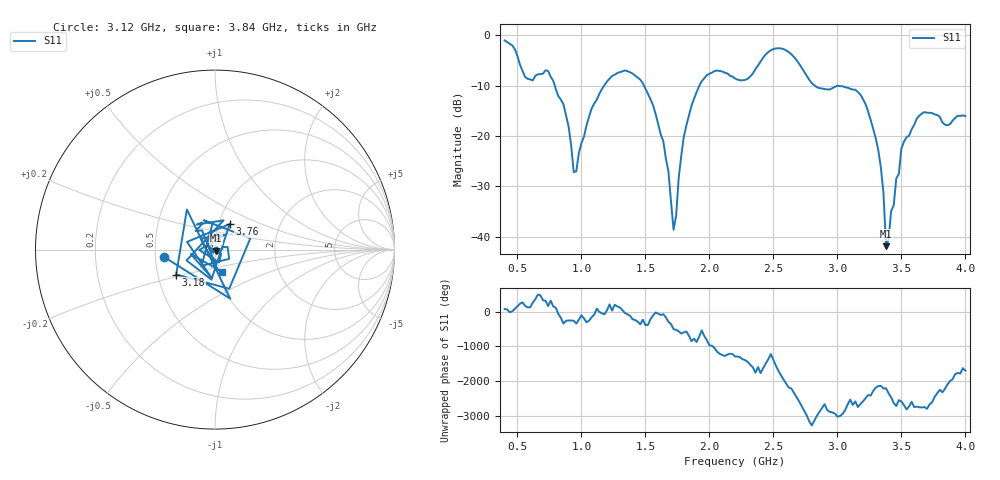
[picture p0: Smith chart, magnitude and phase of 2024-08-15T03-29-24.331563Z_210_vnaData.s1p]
!Created with skrf (http://scikit-rf.org).
# Hz S RI R 50.0
!freq ReS11 ImS11
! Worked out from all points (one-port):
!   181 points, 400 MHz to 4 GHz, reference 50 ohm
!   lowest |S11| = -41.8 dB at 3.38 GHz (marker M1), VSWR 1.02, Z = 50.5 - j0.644 ohm
!   |S11| at or under -10 dB: 791.6 MHz to 1.179 GHz (387 MHz wide, 39.3 % of centre); 1.488 GHz to 1.922 GHz (434.2 MHz wide, 25.5 % of centre); 2.822 GHz to end of sweep
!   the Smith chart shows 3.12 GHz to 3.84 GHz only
!   S11 on the Smith chart (normalised r, x): 3.12 GHz: 0.55, -0.05; 3.18 GHz: 0.62, -0.19; 3.76 GHz: 1.13, +0.33; 3.84 GHz: 1.05, -0.26
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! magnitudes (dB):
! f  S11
! 400 MHz  -1.1
! 580 MHz  -8.7
! 740 MHz  -7.1
! 860 MHz  -13.7
! 960 MHz  -27.0
! 1.08 GHz  -14.6
! 1.3 GHz  -7.3
! 1.56 GHz  -13.9
! 1.68 GHz  -27.0
! 1.72 GHz  -38.6
! 1.76 GHz  -28.4
! 1.82 GHz  -17.9
! 1.94 GHz  -9.1
! 2.2 GHz  -8.6
! 2.5 GHz  -2.8
! 2.66 GHz  -4.3
! 2.84 GHz  -10.3
! 3.1 GHz  -10.6
! 3.12 GHz  -10.8
! 3.18 GHz  -11.8
! 3.32 GHz  -22.9
! 3.36 GHz  -31.3
! 3.38 GHz  -41.8
! 3.5 GHz  -22.5
! 3.56 GHz  -19.9
! 3.76 GHz  -15.7
! 3.84 GHz  -17.8
! 4 GHz  -16.1
